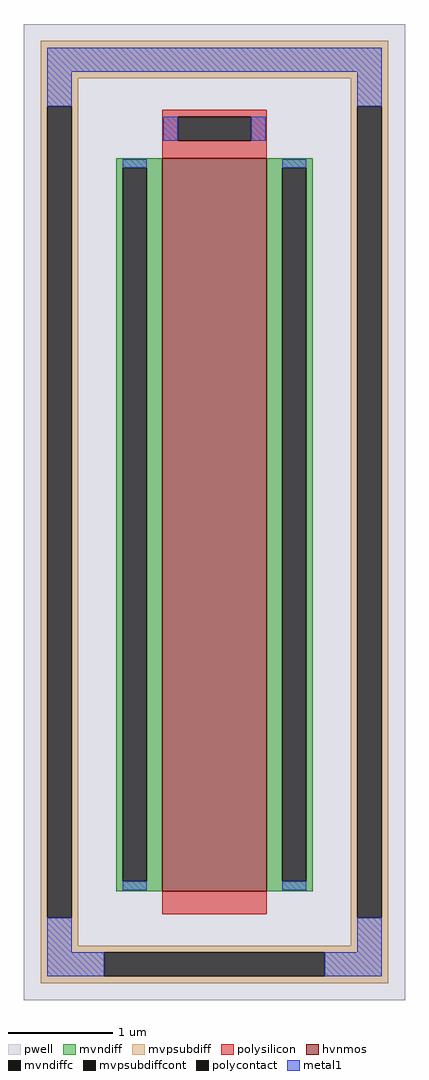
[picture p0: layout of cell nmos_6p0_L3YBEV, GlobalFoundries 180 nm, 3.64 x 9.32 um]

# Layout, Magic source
magic
tech gf180mcuD
magscale 1 10
<< pwell >>
rect -364 -932 364 932
<< hvnmos >>
rect -100 -724 100 676
<< mvndiff >>
rect -188 657 -100 676
rect -188 -705 -175 657
rect -129 -705 -100 657
rect -188 -724 -100 -705
rect 100 657 188 676
rect 100 -705 129 657
rect 175 -705 188 657
rect 100 -724 188 -705
<< mvndiffc >>
rect -175 -705 -129 657
rect 129 -705 175 657
<< mvpsubdiff >>
rect -332 828 332 900
rect -332 775 -260 828
rect -332 -775 -319 775
rect -273 -775 -260 775
rect 260 775 332 828
rect -332 -828 -260 -775
rect 260 -775 273 775
rect 319 -775 332 775
rect 260 -828 332 -775
rect -332 -841 332 -828
rect -332 -887 -211 -841
rect 211 -887 332 -841
rect -332 -900 332 -887
<< mvpsubdiffcont >>
rect -319 -775 -273 775
rect 273 -775 319 775
rect -211 -887 211 -841
<< polysilicon >>
rect -100 755 100 768
rect -100 709 -70 755
rect 70 709 100 755
rect -100 676 100 709
rect -100 -768 100 -724
<< polycontact >>
rect -70 709 70 755
<< metal1 >>
rect -319 841 319 887
rect -319 775 -273 841
rect 273 775 319 841
rect -98 709 -70 755
rect 70 709 98 755
rect -175 657 -129 674
rect -175 -722 -129 -705
rect 129 657 175 674
rect 129 -722 175 -705
rect -319 -841 -273 -775
rect 273 -841 319 -775
rect -319 -887 -211 -841
rect 211 -887 319 -841
<< properties >>
string FIXED_BBOX -296 -864 296 864
string GDS_END 45276
string GDS_FILE ../gds/simple_por.gds.gz
string GDS_START 38936
<< end >>
